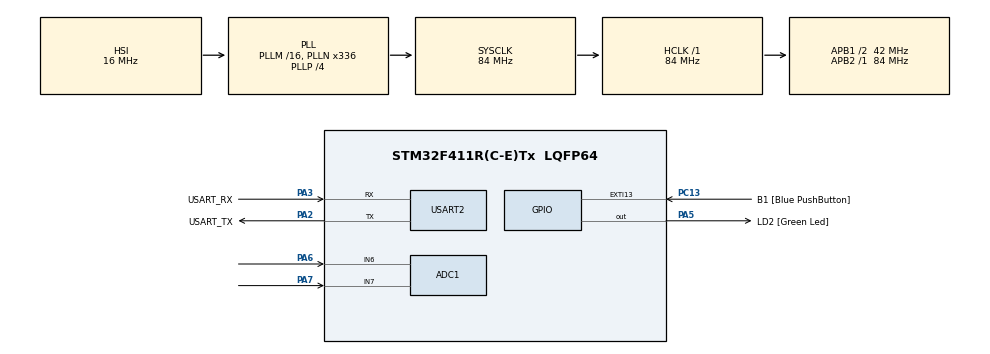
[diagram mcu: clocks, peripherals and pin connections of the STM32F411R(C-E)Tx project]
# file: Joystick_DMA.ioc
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ADC1.Channel-0\#ChannelRegularConversion=ADC_CHANNEL_6
ADC1.Channel-1\#ChannelRegularConversion=ADC_CHANNEL_7
ADC1.ContinuousConvMode=ENABLE
ADC1.DMAContinuousRequests=ENABLE
ADC1.NbrOfConversion=2
ADC1.NbrOfConversionFlag=1
ADC1.Rank-0\#ChannelRegularConversion=1
ADC1.Rank-1\#ChannelRegularConversion=2
ADC1.SamplingTime-0\#ChannelRegularConversion=ADC_SAMPLETIME_144CYCLES
ADC1.SamplingTime-1\#ChannelRegularConversion=ADC_SAMPLETIME_144CYCLES
ADC1.ScanConvMode=ENABLE
ADC1.master=1
Dma.ADC1.0.Direction=DMA_PERIPH_TO_MEMORY
Dma.ADC1.0.FIFOMode=DMA_FIFOMODE_DISABLE
Dma.ADC1.0.Instance=DMA2_Stream0
Dma.ADC1.0.MemDataAlignment=DMA_MDATAALIGN_HALFWORD
Dma.ADC1.0.MemInc=DMA_MINC_ENABLE
Dma.ADC1.0.Mode=DMA_CIRCULAR
Dma.ADC1.0.PeriphDataAlignment=DMA_PDATAALIGN_HALFWORD
Dma.ADC1.0.PeriphInc=DMA_PINC_DISABLE
Dma.ADC1.0.Priority=DMA_PRIORITY_LOW
Dma.Request0=ADC1
Mcu.Family=STM32F4
Mcu.Name=STM32F411R(C-E)Tx
Mcu.Package=LQFP64
NVIC.ADC_IRQn=true\:0\:0\:false\:false\:true\:true\:true\:true
NVIC.DMA2_Stream0_IRQn=true\:0\:0\:false\:false\:true\:false\:true\:true
NVIC.PriorityGroup=NVIC_PRIORITYGROUP_0
PA13.GPIO_Label=TMS
PA13.Mode=Serial_Wire
PA13.Signal=SYS_JTMS-SWDIO
PA14.GPIO_Label=TCK
PA14.Mode=Serial_Wire
PA14.Signal=SYS_JTCK-SWCLK
PA2.GPIO_Label=USART_TX
PA2.Mode=Asynchronous
PA2.Signal=USART2_TX
PA3.GPIO_Label=USART_RX
PA3.Mode=Asynchronous
PA3.Signal=USART2_RX
PA5.GPIO_Label=LD2 [Green Led]
PA5.Signal=GPIO_Output
PA6.Signal=ADCx_IN6
PA7.Signal=ADCx_IN7
PB3.GPIO_Label=SWO
PB3.Signal=SYS_JTDO-SWO
PC13-ANTI_TAMP.GPIO_Label=B1 [Blue PushButton]
PC13-ANTI_TAMP.GPIO_ModeDefaultEXTI=GPIO_MODE_IT_FALLING
PC13-ANTI_TAMP.Signal=GPXTI13
PC14-OSC32_IN.Mode=LSE-External-Oscillator
PC14-OSC32_IN.Signal=RCC_OSC32_IN
PC15-OSC32_OUT.Mode=LSE-External-Oscillator
PC15-OSC32_OUT.Signal=RCC_OSC32_OUT
PH0\ -\ OSC_IN.Mode=HSE-External-Clock-Source
PH0\ -\ OSC_IN.Signal=RCC_OSC_IN
PH1\ -\ OSC_OUT.Mode=HSE-External-Clock-Source
PH1\ -\ OSC_OUT.Signal=RCC_OSC_OUT
ProjectManager.HeapSize=0x200
ProjectManager.StackSize=0x400
ProjectManager.TargetToolchain=STM32CubeIDE
RCC.48MHZClocksFreq_Value=84000000
RCC.AHBFreq_Value=84000000
RCC.APB1CLKDivider=RCC_HCLK_DIV2
RCC.APB1Freq_Value=42000000
RCC.APB1TimFreq_Value=84000000
RCC.APB2Freq_Value=84000000
RCC.APB2TimFreq_Value=84000000
RCC.CortexFreq_Value=84000000
RCC.FLatency-AdvancedSettings=FLASH_LATENCY_2
RCC.HCLKFreq_Value=84000000
RCC.HSE_VALUE=8000000
RCC.HSI_VALUE=16000000
RCC.PLLN=336
RCC.PLLP=RCC_PLLP_DIV4
RCC.SYSCLKFreq_VALUE=84000000
RCC.SYSCLKSource=RCC_SYSCLKSOURCE_PLLCLK
RCC.VCOOutputFreq_Value=336000000
SH.ADCx_IN6.0=ADC1_IN6,IN6
SH.ADCx_IN7.0=ADC1_IN7,IN7
USART2.VirtualMode=VM_ASYNC
VP_TIM2_VS_ClockSourceINT.Mode=Internal
board=NUCLEO-F411RE

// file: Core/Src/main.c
/* USER CODE BEGIN Header */
/**
  ******************************************************************************
  * @file           : main.c
  * @brief          : Main program body
  ******************************************************************************
  * @attention
  *
  * Copyright (c) 2022 STMicroelectronics.
  * All rights reserved.
  *
  * This software is licensed under terms that can be found in the LICENSE file
  * in the root directory of this software component.
  * If no LICENSE file comes with this software, it is provided AS-IS.
  *
  ******************************************************************************
  */
/* USER CODE END Header */
#include "main.h"

/* USER CODE BEGIN Includes */
#include <stdio.h>
/* USER CODE END Includes */

/* USER CODE BEGIN PM */
void SystemClock_Config(void);
static void MX_GPIO_Init(void);
static void MX_ADC1_Init(void);
static void MX_TIM2_Init(void);
static void MX_USART2_UART_Init(void);
/* USER CODE BEGIN PFP */

/* USER CODE END PM */

ADC_HandleTypeDef hadc1;
DMA_HandleTypeDef hdma_adc1;

TIM_HandleTypeDef htim2;

UART_HandleTypeDef huart2;

void SystemClock_Config(void);
static void MX_GPIO_Init(void);
static void MX_DMA_Init(void);
static void MX_USART2_UART_Init(void);
static void MX_ADC1_Init(void);
static void MX_TIM2_Init(void);
/* USER CODE BEGIN PFP */

/* USER CODE END PM */

/* Private variables ---------------------------------------------------------*/
ADC_HandleTypeDef hadc1;
DMA_HandleTypeDef hdma_adc1;

TIM_HandleTypeDef htim2;

UART_HandleTypeDef huart2;

/* USER CODE BEGIN PV */

/* USER CODE END PV */

/* Private function prototypes -----------------------------------------------*/
void SystemClock_Config(void);
static void MX_GPIO_Init(void);
static void MX_DMA_Init(void);
static void MX_USART2_UART_Init(void);
static void MX_ADC1_Init(void);
static void MX_TIM2_Init(void);
/* USER CODE BEGIN PFP */

/* USER CODE END PM */

/* Private variables ---------------------------------------------------------*/
ADC_HandleTypeDef hadc1;
DMA_HandleTypeDef hdma_adc1;

UART_HandleTypeDef huart2;

/* USER CODE BEGIN PV */
volatile uint16_t Joystick_XY[2]={0,};
int xVal=0, yVal=0;
/* USER CODE END PV */

/* Private function prototypes -----------------------------------------------*/
void SystemClock_Config(void);
static void MX_GPIO_Init(void);
static void MX_DMA_Init(void);
static void MX_USART2_UART_Init(void);
static void MX_ADC1_Init(void);
/* USER CODE BEGIN PFP */
#ifdef __GNUC__
#define PUTCHAR_PROTOTYPE int __io_putchar(int ch)
#else
#define PUTCHAR_PROTOTYPE int fputc(int ch, FILE *f)
#endif

/**
 * @brief Retargets the C library printf function to the USART
 * @param None
 * @retval None
 */
PUTCHAR_PROTOTYPE{
	if (ch == '\n') HAL_UART_Transmit(&huart2, (uint8_t*)"\r", 1, 0xFFFF);
	HAL_UART_Transmit(&huart2, (uint8_t*)&ch, 1, 0xFFFF);
	return ch;
}
/* USER CODE END PFP */

int main(void)
{

  /* MCU Configuration--------------------------------------------------------*/

  /* Reset of all peripherals, Initializes the Flash interface and the Systick. */
  HAL_Init();

  /* Configure the system clock */
  SystemClock_Config();

  /* Initialize all configured peripherals */
  MX_GPIO_Init();
  MX_DMA_Init();
  MX_USART2_UART_Init();
  MX_ADC1_Init();
  MX_TIM2_Init();
  /* USER CODE BEGIN 2 */
  HAL_ADC_Start_DMA(&hadc1, Joystick_XY, 2);
  /* USER CODE END 2 */

  /* Infinite loop */
  while (1)
  {

    /* USER CODE BEGIN 3 */
	  xVal = Joystick_XY[0];
	  yVal = Joystick_XY[1];

	  // print value
	  printf("%d, %d\r\n", xVal, yVal);
	  HAL_Delay(10);

  }
  /* USER CODE END 3 */
}

void SystemClock_Config(void)
{
  RCC_OscInitTypeDef RCC_OscInitStruct = {0};
  RCC_ClkInitTypeDef RCC_ClkInitStruct = {0};

  /** Configure the main internal regulator output voltage
  */
  __HAL_RCC_PWR_CLK_ENABLE();
  __HAL_PWR_VOLTAGESCALING_CONFIG(PWR_REGULATOR_VOLTAGE_SCALE1);

  /** Initializes the RCC Oscillators according to the specified parameters
  * in the RCC_OscInitTypeDef structure.
  */
  RCC_OscInitStruct.OscillatorType = RCC_OSCILLATORTYPE_HSI;
  RCC_OscInitStruct.HSIState = RCC_HSI_ON;
  RCC_OscInitStruct.HSICalibrationValue = RCC_HSICALIBRATION_DEFAULT;
  RCC_OscInitStruct.PLL.PLLState = RCC_PLL_ON;
  RCC_OscInitStruct.PLL.PLLSource = RCC_PLLSOURCE_HSI;
  RCC_OscInitStruct.PLL.PLLM = 16;
  RCC_OscInitStruct.PLL.PLLN = 336;
  RCC_OscInitStruct.PLL.PLLP = RCC_PLLP_DIV4;
  RCC_OscInitStruct.PLL.PLLQ = 4;
  if (HAL_RCC_OscConfig(&RCC_OscInitStruct) != HAL_OK)
  {
    Error_Handler();
  }

  /** Initializes the CPU, AHB and APB buses clocks
  */
  RCC_ClkInitStruct.ClockType = RCC_CLOCKTYPE_HCLK|RCC_CLOCKTYPE_SYSCLK
                              |RCC_CLOCKTYPE_PCLK1|RCC_CLOCKTYPE_PCLK2;
  RCC_ClkInitStruct.SYSCLKSource = RCC_SYSCLKSOURCE_PLLCLK;
  RCC_ClkInitStruct.AHBCLKDivider = RCC_SYSCLK_DIV1;
  RCC_ClkInitStruct.APB1CLKDivider = RCC_HCLK_DIV2;
  RCC_ClkInitStruct.APB2CLKDivider = RCC_HCLK_DIV1;

  if (HAL_RCC_ClockConfig(&RCC_ClkInitStruct, FLASH_LATENCY_2) != HAL_OK)
  {
    Error_Handler();
  }
}

static void MX_ADC1_Init(void)
{

  ADC_ChannelConfTypeDef sConfig = {0};

  /** Configure the global features of the ADC (Clock, Resolution, Data Alignment and number of conversion)
  */
  hadc1.Instance = ADC1;
  hadc1.Init.ClockPrescaler = ADC_CLOCK_SYNC_PCLK_DIV4;
  hadc1.Init.Resolution = ADC_RESOLUTION_12B;
  hadc1.Init.ScanConvMode = ENABLE;
  hadc1.Init.ContinuousConvMode = ENABLE;
  hadc1.Init.DiscontinuousConvMode = DISABLE;
  hadc1.Init.ExternalTrigConvEdge = ADC_EXTERNALTRIGCONVEDGE_NONE;
  hadc1.Init.ExternalTrigConv = ADC_SOFTWARE_START;
  hadc1.Init.DataAlign = ADC_DATAALIGN_RIGHT;
  hadc1.Init.NbrOfConversion = 2;
  hadc1.Init.DMAContinuousRequests = ENABLE;
  hadc1.Init.EOCSelection = ADC_EOC_SINGLE_CONV;
  if (HAL_ADC_Init(&hadc1) != HAL_OK)
  {
    Error_Handler();
  }

  /** Configure for the selected ADC regular channel its corresponding rank in the sequencer and its sample time.
  */
  sConfig.Channel = ADC_CHANNEL_6;
  sConfig.Rank = 1;
  sConfig.SamplingTime = ADC_SAMPLETIME_144CYCLES;
  if (HAL_ADC_ConfigChannel(&hadc1, &sConfig) != HAL_OK)
  {
    Error_Handler();
  }

  /** Configure for the selected ADC regular channel its corresponding rank in the sequencer and its sample time.
  */
  sConfig.Channel = ADC_CHANNEL_7;
  sConfig.Rank = 2;
  if (HAL_ADC_ConfigChannel(&hadc1, &sConfig) != HAL_OK)
  {
    Error_Handler();
  }

}

static void MX_TIM2_Init(void)
{

  TIM_ClockConfigTypeDef sClockSourceConfig = {0};
  TIM_MasterConfigTypeDef sMasterConfig = {0};

  htim2.Instance = TIM2;
  htim2.Init.Prescaler = 0;
  htim2.Init.CounterMode = TIM_COUNTERMODE_UP;
  htim2.Init.Period = 4294967295;
  htim2.Init.ClockDivision = TIM_CLOCKDIVISION_DIV1;
  htim2.Init.AutoReloadPreload = TIM_AUTORELOAD_PRELOAD_DISABLE;
  if (HAL_TIM_Base_Init(&htim2) != HAL_OK)
  {
    Error_Handler();
  }
  sClockSourceConfig.ClockSource = TIM_CLOCKSOURCE_INTERNAL;
  if (HAL_TIM_ConfigClockSource(&htim2, &sClockSourceConfig) != HAL_OK)
  {
    Error_Handler();
  }
  sMasterConfig.MasterOutputTrigger = TIM_TRGO_RESET;
  sMasterConfig.MasterSlaveMode = TIM_MASTERSLAVEMODE_DISABLE;
  if (HAL_TIMEx_MasterConfigSynchronization(&htim2, &sMasterConfig) != HAL_OK)
  {
    Error_Handler();
  }

}

static void MX_USART2_UART_Init(void)
{

  huart2.Instance = USART2;
  huart2.Init.BaudRate = 115200;
  huart2.Init.WordLength = UART_WORDLENGTH_8B;
  huart2.Init.StopBits = UART_STOPBITS_1;
  huart2.Init.Parity = UART_PARITY_NONE;
  huart2.Init.Mode = UART_MODE_TX_RX;
  huart2.Init.HwFlowCtl = UART_HWCONTROL_NONE;
  huart2.Init.OverSampling = UART_OVERSAMPLING_16;
  if (HAL_UART_Init(&huart2) != HAL_OK)
  {
    Error_Handler();
  }

}

static void MX_DMA_Init(void)
{

  /* DMA controller clock enable */
  __HAL_RCC_DMA2_CLK_ENABLE();

  /* DMA interrupt init */
  /* DMA2_Stream0_IRQn interrupt configuration */
  HAL_NVIC_SetPriority(DMA2_Stream0_IRQn, 0, 0);
  HAL_NVIC_EnableIRQ(DMA2_Stream0_IRQn);

}

static void MX_GPIO_Init(void)
{
  GPIO_InitTypeDef GPIO_InitStruct = {0};

  /* GPIO Ports Clock Enable */
  __HAL_RCC_GPIOC_CLK_ENABLE();
  __HAL_RCC_GPIOH_CLK_ENABLE();
  __HAL_RCC_GPIOA_CLK_ENABLE();
  __HAL_RCC_GPIOB_CLK_ENABLE();

  /*Configure GPIO pin Output Level */
  HAL_GPIO_WritePin(LD2_GPIO_Port, LD2_Pin, GPIO_PIN_RESET);

  /*Configure GPIO pin : B1_Pin */
  GPIO_InitStruct.Pin = B1_Pin;
  GPIO_InitStruct.Mode = GPIO_MODE_IT_FALLING;
  GPIO_InitStruct.Pull = GPIO_NOPULL;
  HAL_GPIO_Init(B1_GPIO_Port, &GPIO_InitStruct);

  /*Configure GPIO pin : LD2_Pin */
  GPIO_InitStruct.Pin = LD2_Pin;
  GPIO_InitStruct.Mode = GPIO_MODE_OUTPUT_PP;
  GPIO_InitStruct.Pull = GPIO_NOPULL;
  GPIO_InitStruct.Speed = GPIO_SPEED_FREQ_LOW;
  HAL_GPIO_Init(LD2_GPIO_Port, &GPIO_InitStruct);

}

void Error_Handler(void)
{
  __disable_irq();
  while (1)
  {
  }
}
